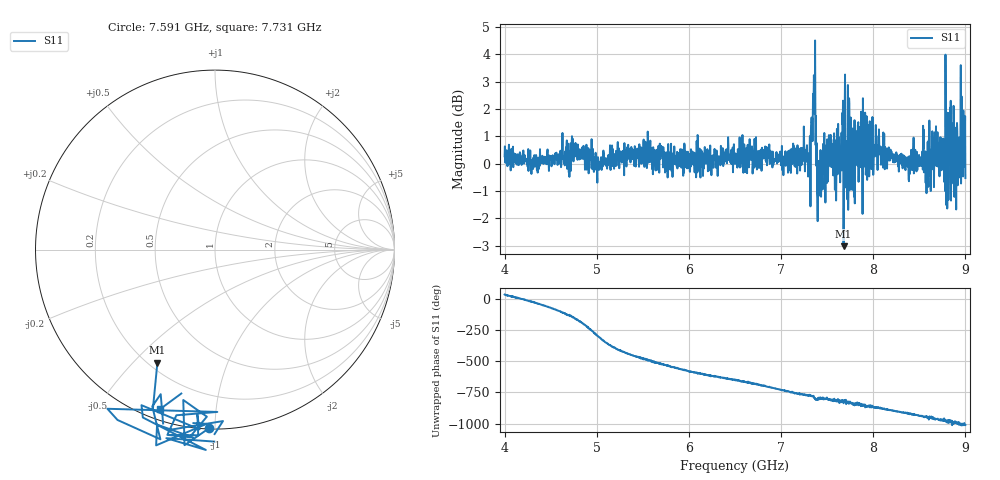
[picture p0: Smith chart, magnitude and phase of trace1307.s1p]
! Created with skrf 1.8.0 (http://scikit-rf.org).
# Hz S RI R 50.0
!freq ReS11 ImS11
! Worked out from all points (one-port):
!   1601 points, 4 GHz to 9 GHz, reference 50 ohm
!   lowest |S11| = -3.0 dB at 7.678 GHz (marker M1), VSWR 5.82, Z = 11.7 - j29.4 ohm
!   |S11| at or under -10 dB: nowhere
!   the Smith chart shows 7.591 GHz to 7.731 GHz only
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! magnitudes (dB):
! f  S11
! 4 GHz  0.3
! 4.625 GHz  0.5
! 4.753 GHz  0.6
! 5.019 GHz  0.0
! 5.25 GHz  0.5
! 5.875 GHz  -0.2
! 6.5 GHz  0.3
! 7.125 GHz  0.6
! 7.294 GHz  -0.5
! 7.316 GHz  0.9
! 7.353 GHz  2.3
! 7.369 GHz  4.5
! 7.4 GHz  -0.2
! 7.416 GHz  -0.7
! 7.478 GHz  0.2
! 7.591 GHz  0.0
! 7.678 GHz  -3.0
! 7.75 GHz  -0.7
! 7.769 GHz  -0.3
! 7.828 GHz  -0.1
! 8.05 GHz  0.6
! 8.375 GHz  -0.1
! 8.522 GHz  0.1
! 8.575 GHz  0.4
! 8.809 GHz  0.4
! 8.903 GHz  1.3
! 8.972 GHz  0.5
! 9 GHz  -0.5
